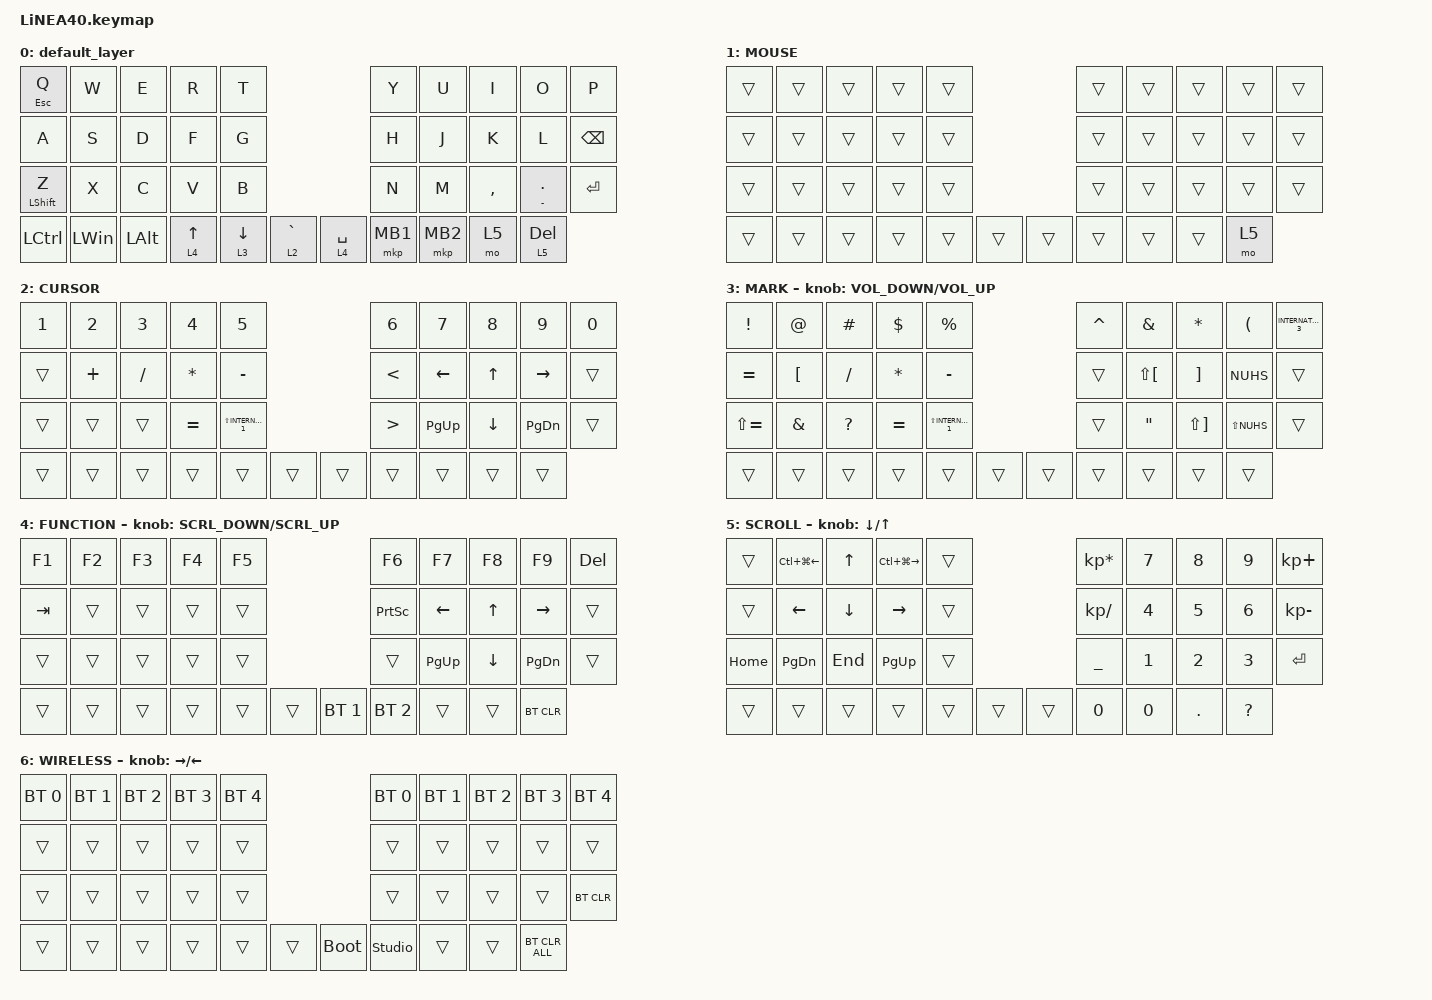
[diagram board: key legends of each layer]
#define ZMK_POINTING_DEFAULT_SCRL_VAL 20

#include <dt-bindings/zmk/input_transform.h>
#include <input/processors.dtsi>
#include <zephyr/dt-bindings/input/input-event-codes.h>
#include <behaviors.dtsi>
#include <dt-bindings/zmk/bt.h>
#include <dt-bindings/zmk/keys.h>
#include <dt-bindings/zmk/pointing.h>

#define MOUSE 1
#define MARK 2
#define CURSOR 3
#define FUNCTION 4
#define SCROLL 5
#define WIRELESS 6

//mouse cursol

&mmv {
    delay-ms = <20>;
    trigger-period-ms = <5>;
    time-to-max-speed-ms = <100>;
    acceleration-exponent = <2>;
};

//mouse scroll

&msc {
    delay-ms = <3>;
    trigger-period-ms = <3>;
    time-to-max-speed-ms = <100>;
    acceleration-exponent = <0>;
};

/ {
    input_processors {
        zip_wheel_scaler: zip_wheel_scaler {
            compatible = "zmk,input-processor-scaler";
            #input-processor-cells = <2>;
            type = <INPUT_EV_REL>;
            codes = <INPUT_REL_WHEEL>;
            track-remainders;
        };
    };
};

&msc_input_listener {
    speed_up {
        layers = <FUNCTION>;
        input-processors = <&zip_wheel_scaler 3 1>; //スクロールを3倍速にする
    };
};

&trackball_listener {
    scroller {
        layers = <SCROLL>;
        input-processors =
            <&zip_xy_transform INPUT_TRANSFORM_Y_INVERT>,
            //スクロール方向を逆転,,,,,,,,,,,,,,,,,,,
            <&zip_xy_scaler 1 4>,
            // ← この1行を挿入,,
            <&zip_xy_to_scroll_mapper>;
    };
};

/ {
    combos {
        compatible = "zmk,combos";

        ZenkakuHankaku {
            bindings = <&kp GRAVE>;
            key-positions = <11 12>;
        };

        DeleteKey {
            bindings = <&kp DEL>;
            key-positions = <7 8>;
        };

        InsertKey {
            bindings = <&kp INS>;
            key-positions = <6 7>;
        };

        CenterClick {
            bindings = <&mkp MB3>;
            key-positions = <17 16>;
        };

        RightClick {
            bindings = <&mkp MB2>;
            key-positions = <18 17>;
        };

        PrevClick {
            bindings = <&mkp MB4>;
            key-positions = <27 28>;
        };

        ClickNext {
            bindings = <&mkp MB5>;
            key-positions = <26 27>;
        };
    };

    behaviors {
        re_kp: sensor_rotate_kp {
            compatible = "zmk,behavior-sensor-rotate-var";
            #sensor-binding-cells = <2>;
            bindings = <&kp>, <&kp>;
        };

        mouse_scrl: mouse_wheel_scrl {
            compatible = "zmk,behavior-sensor-rotate-var";
            #sensor-binding-cells = <2>;
            bindings = <&msc>, <&msc>;

            tap-ms = <20>;
        };
    };

    keymap {
        compatible = "zmk,keymap";

        default_layer {
            bindings = <
&mt ESCAPE Q      &kp W         &kp E         &kp R           &kp T                                         &kp Y     &kp U  &kp I      &kp O          &kp P
&kp A             &kp S         &kp D         &kp F           &kp G                                         &kp H     &kp J  &kp K      &kp L          &kp BACKSPACE
&mt LEFT_SHIFT Z  &kp X         &kp C         &kp V           &kp B                                         &kp N     &kp M  &kp COMMA  &mt MINUS DOT  &kp ENTER
&kp LCTRL         &kp LEFT_WIN  &kp LEFT_ALT  &lt 4 UP_ARROW  &lt 3 DOWN_ARROW  &lt 2 GRAVE    &lt 4 SPACE  &mkp MB1         &mkp MB2   &mo 5          &lt 5 DEL
            >;
        };

        MOUSE {
            bindings = <
&trans  &trans  &trans  &trans  &trans                    &trans  &trans  &trans  &trans  &trans
&trans  &trans  &trans  &trans  &trans                    &trans  &trans  &trans  &trans  &trans
&trans  &trans  &trans  &trans  &trans                    &trans  &trans  &trans  &trans  &trans
&trans  &trans  &trans  &trans  &trans  &trans    &trans  &trans          &trans  &trans  &mo 5
            >;
        };

        CURSOR {
            bindings = <
&kp NUMBER_1  &kp N2    &kp NUMBER_3  &kp NUMBER_4  &kp N5                                     &kp NUMBER_6      &kp NUMBER_7    &kp NUMBER_8    &kp NUMBER_9     &kp N0
&trans        &kp PLUS  &kp SLASH     &kp ASTERISK  &kp MINUS                                  &kp LESS_THAN     &kp LEFT_ARROW  &kp UP_ARROW    &kp RIGHT_ARROW  &trans
&trans        &trans    &trans        &kp EQUAL     &kp LS(INTERNATIONAL_1)                    &kp GREATER_THAN  &kp PAGE_UP     &kp DOWN_ARROW  &kp PAGE_DOWN    &trans
&trans        &trans    &trans        &trans        &trans                   &trans    &trans  &trans                            &trans          &trans           &trans
            >;
        };

        MARK {
            bindings = <
&kp EXCLAMATION  &kp AT            &kp HASH      &kp DOLLAR    &kp PERCENT                                &kp CARET  &kp AMPERSAND      &kp ASTERISK           &kp LEFT_PARENTHESIS  &kp INTERNATIONAL_3
&kp EQUAL        &kp LEFT_BRACKET  &kp SLASH     &kp ASTERISK  &kp MINUS                                  &trans     &kp LS(LBKT)       &kp RIGHT_BRACKET      &kp NUHS              &trans
&kp LS(EQUAL)    &kp AMPERSAND     &kp QUESTION  &kp EQUAL     &kp LS(INTERNATIONAL_1)                    &trans     &kp DOUBLE_QUOTES  &kp LS(RIGHT_BRACKET)  &kp LS(NUHS)          &trans
&trans           &trans            &trans        &trans        &trans                   &trans    &trans  &trans                        &trans                 &trans                &trans
            >;

            sensor-bindings = <&re_kp C_VOLUME_DOWN C_VOLUME_UP>;
        };

        FUNCTION {
            bindings = <
&kp F1   &kp F2  &kp F3  &kp F4  &kp F5                          &kp F6           &kp F7          &kp F8          &kp F9         &kp DELETE
&kp TAB  &trans  &trans  &trans  &trans                          &kp PRINTSCREEN  &kp LEFT_ARROW  &kp UP_ARROW    &kp RIGHT      &trans
&trans   &trans  &trans  &trans  &trans                          &trans           &kp PAGE_UP     &kp DOWN_ARROW  &kp PAGE_DOWN  &trans
&trans   &trans  &trans  &trans  &trans  &trans    &bt BT_SEL 1  &bt BT_SEL 2                     &trans          &trans         &bt BT_CLR
            >;

            sensor-bindings = <&mouse_scrl SCRL_DOWN SCRL_UP>;
        };

        SCROLL {
            bindings = <
&trans    &kp LC(LG(LEFT_ARROW))  &kp UP_ARROW  &kp LC(LG(RIGHT_ARROW))  &trans                    &kp KP_MULTIPLY  &kp NUMBER_7  &kp NUMBER_8  &kp NUMBER_9  &kp KP_PLUS
&trans    &kp LEFT_ARROW          &kp DOWN      &kp RIGHT_ARROW          &trans                    &kp KP_SLASH     &kp NUMBER_4  &kp NUMBER_5  &kp NUMBER_6  &kp KP_MINUS
&kp HOME  &kp PAGE_DOWN           &kp END       &kp PAGE_UP              &trans                    &kp UNDER        &kp NUMBER_1  &kp NUMBER_2  &kp NUMBER_3  &kp ENTER
&trans    &trans                  &trans        &trans                   &trans  &trans    &trans  &kp NUMBER_0                   &kp NUMBER_0  &kp DOT       &kp QUESTION
            >;

            sensor-bindings = <&inc_dec_kp DOWN_ARROW UP_ARROW>;
        };

        WIRELESS {
            bindings = <
&bt BT_SEL 0  &bt BT_SEL 1  &bt BT_SEL 2  &bt BT_SEL 3  &bt BT_SEL 4                         &bt BT_SEL 0    &bt BT_SEL 1  &bt BT_SEL 2  &bt BT_SEL 3  &bt BT_SEL 4
&trans        &trans        &trans        &trans        &trans                               &trans          &trans        &trans        &trans        &trans
&trans        &trans        &trans        &trans        &trans                               &trans          &trans        &trans        &trans        &bt BT_CLR
&trans        &trans        &trans        &trans        &trans        &trans    &bootloader  &studio_unlock                &trans        &trans        &bt BT_CLR_ALL
            >;

            sensor-bindings = <&inc_dec_kp RIGHT_ARROW LEFT_ARROW>;
        };
    };
};
